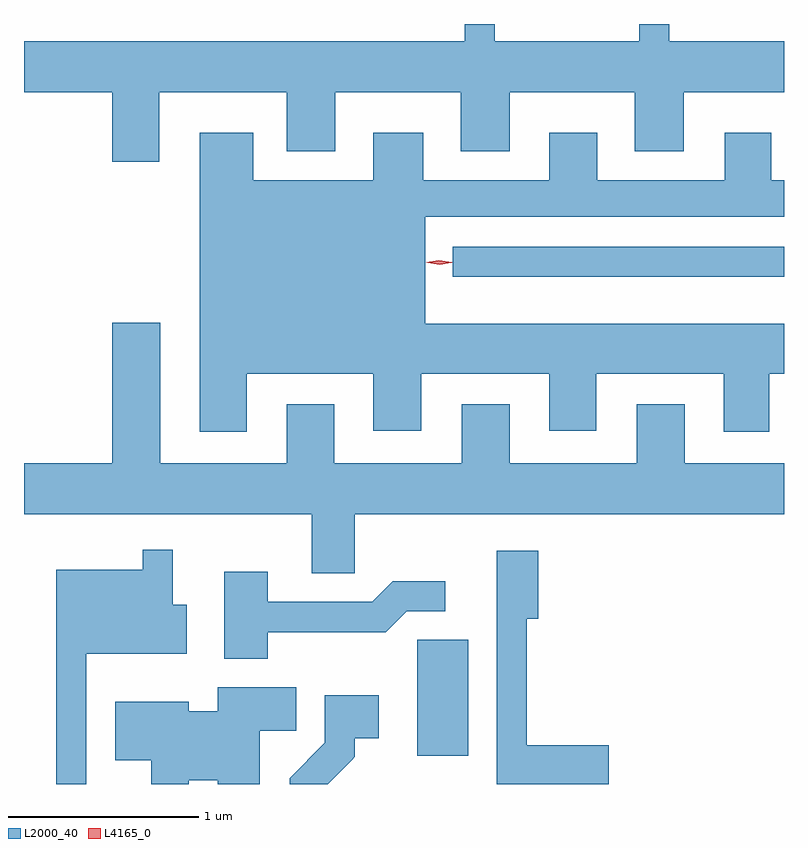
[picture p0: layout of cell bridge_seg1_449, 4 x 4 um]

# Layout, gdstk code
import gdstk
lib = gdstk.Library(unit=1e-6, precision=1e-09)
def R(c, l, rs):  # rectangles x0, y0, x1, y1
    for r in rs: c.add(gdstk.rectangle(r[:2], r[2:], *l))
def P(c, l, *ps):  # polygons
    for p in ps: c.add(gdstk.Polygon(p, *l))
L2000_40 = (2000, 40)
L4165_0 = (4165, 0)

bridge_seg1_449 = lib.new_cell('bridge_seg1_449')
R(bridge_seg1_449, L2000_40, [(344.356,847.246,344.624,847.854), (344.543,849.766,346.287,849.924)])
P(bridge_seg1_449, L2000_40, [(342.999,850.736),(343.671,850.736),(343.671,850.426),(343.924,850.426),(343.924,850.736),(344.586,850.736),(344.586,850.426),(344.844,850.426),(344.844,850.736),(345.501,850.736),(345.501,850.426),(345.759,850.426),(345.759,850.736),(346.287,850.736),(346.287,851.004),(345.684,851.004),(345.684,851.096),(345.526,851.096),(345.526,851.004),(344.764,851.004),(344.764,851.096),(344.606,851.096),(344.606,851.004),(342.287,851.004),(342.287,850.736),(342.751,850.736),(342.751,850.371),(342.999,850.371)],
  [(343.459,849.256),(344.126,849.256),(344.126,848.956),(344.379,848.956),(344.379,849.256),(345.051,849.256),(345.051,848.956),(345.299,848.956),(345.299,849.256),(345.971,849.256),(345.971,848.951),(346.209,848.951),(346.209,849.256),(346.287,849.256),(346.287,849.519),(344.399,849.519),(344.399,850.081),(346.287,850.081),(346.287,850.274),(346.219,850.274),(346.219,850.524),(345.976,850.524),(345.976,850.274),(345.304,850.274),(345.304,850.524),(345.051,850.524),(345.051,850.274),(344.389,850.274),(344.389,850.524),(344.126,850.524),(344.126,850.274),(343.494,850.274),(343.494,850.524),(343.211,850.524),(343.211,848.951),(343.459,848.951)],
  [(344.029,848.516),(346.287,848.516),(346.287,848.784),(345.764,848.784),(345.764,849.094),(345.511,849.094),(345.511,848.784),(344.844,848.784),(344.844,849.094),(344.591,849.094),(344.591,848.784),(343.919,848.784),(343.919,849.094),(343.671,849.094),(343.671,848.784),(343.004,848.784),(343.004,849.524),(342.751,849.524),(342.751,848.784),(342.287,848.784),(342.287,848.516),(343.801,848.516),(343.801,848.206),(344.029,848.206)],
  [(342.614,847.781),(343.144,847.781),(343.144,848.039),(343.069,848.039),(343.069,848.328),(342.911,848.328),(342.911,848.224),(342.456,848.224),(342.456,847.096),(342.614,847.096)],
  [(345.364,847.299),(344.934,847.299),(344.934,847.966),(344.994,847.966),(344.994,848.324),(344.776,848.324),(344.776,847.096),(345.364,847.096)],
  [(343.569,847.896),(344.192,847.896),(344.302,848.006),(344.503,848.006),(344.503,848.164),(344.229,848.164),(344.119,848.054),(343.569,848.054),(343.569,848.214),(343.341,848.214),(343.341,847.756),(343.569,847.756)],
  [(343.154,847.116),(343.306,847.116),(343.306,847.096),(343.529,847.096),(343.529,847.376),(343.719,847.376),(343.719,847.604),(343.306,847.604),(343.306,847.479),(343.154,847.479),(343.154,847.529),(342.766,847.529),(342.766,847.221),(342.956,847.221),(342.956,847.096),(343.154,847.096)],
  [(344.013,847.222),(344.029,847.239),(344.029,847.336),(344.154,847.336),(344.154,847.564),(343.871,847.564),(343.871,847.312),(343.686,847.127),(343.686,847.096),(343.886,847.096)])
P(bridge_seg1_449, L4165_0, [(344.474,849.83),(344.412,849.84),(344.412,849.84),(344.412,849.84),(344.474,849.85),(344.536,849.841),(344.537,849.84),(344.536,849.84)],
  [(344.471,849.833),(344.403,849.842),(344.402,849.843),(344.403,849.843),(344.471,849.853),(344.54,849.843),(344.54,849.843),(344.54,849.842)])

lib.write_gds('bridge_seg1_449.gds')
